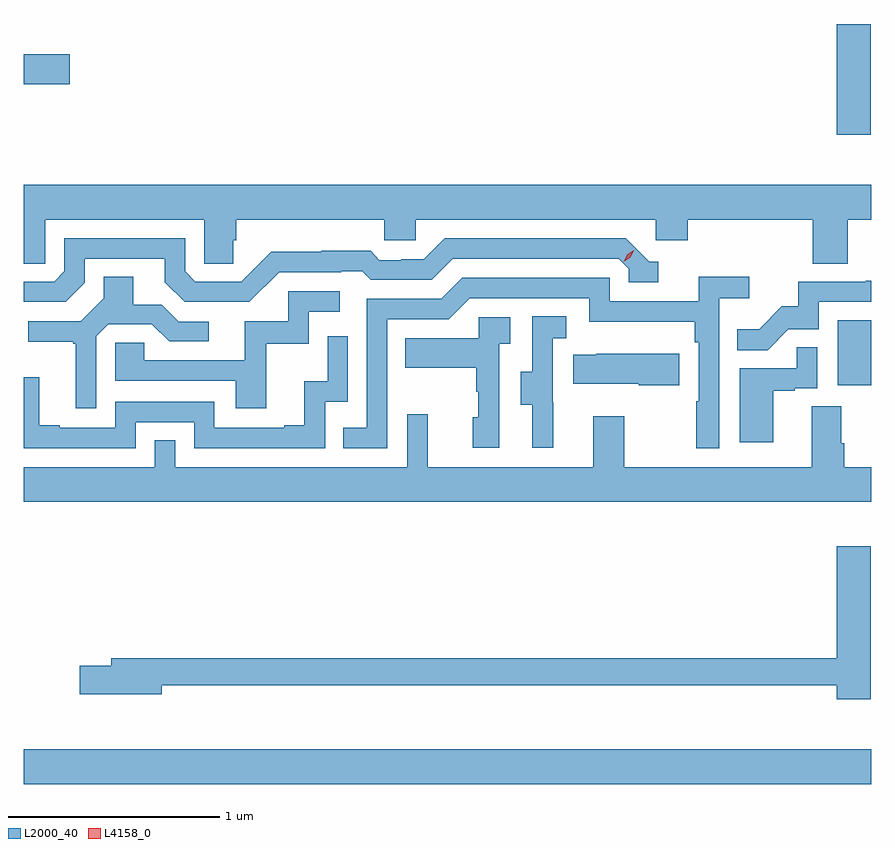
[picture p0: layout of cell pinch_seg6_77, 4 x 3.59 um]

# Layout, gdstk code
import gdstk
lib = gdstk.Library(unit=1e-6, precision=1e-09)
def R(c, l, rs):  # rectangles x0, y0, x1, y1
    for r in rs: c.add(gdstk.rectangle(r[:2], r[2:], *l))
def P(c, l, *ps):  # polygons
    for p in ps: c.add(gdstk.Polygon(p, *l))
L2000_40 = (2000, 40)
L4158_0 = (4158, 0)

pinch_seg6_77 = lib.new_cell('pinch_seg6_77')
R(pinch_seg6_77, L2000_40, [(884.574,930.02,888.574,930.184), (888.416,931.902,888.574,932.209), (888.41,933.084,888.571,933.607), (884.574,933.322,884.791,933.464)])
P(pinch_seg6_77, L2000_40, [(884.574,932.476),(884.676,932.476),(884.676,932.684),(885.426,932.684),(885.426,932.476),(885.563,932.476),(885.563,932.586),(885.578,932.586),(885.578,932.684),(886.275,932.684),(886.275,932.586),(886.425,932.586),(886.425,932.684),(887.556,932.684),(887.556,932.586),(887.708,932.586),(887.708,932.684),(888.299,932.684),(888.299,932.476),(888.464,932.476),(888.464,932.684),(888.574,932.684),(888.574,932.848),(884.574,932.848)],
  [(884.862,932.385),(884.862,932.499),(885.239,932.499),(885.239,932.389),(885.333,932.295),(885.639,932.295),(885.78,932.436),(886.073,932.436),(886.073,932.439),(886.172,932.439),(886.211,932.4),(886.5,932.4),(886.599,932.499),(887.382,932.499),(887.43,932.451),(887.43,932.388),(887.569,932.388),(887.569,932.484),(887.526,932.484),(887.415,932.595),(886.562,932.595),(886.463,932.496),(886.356,932.496),(886.356,932.493),(886.253,932.493),(886.211,932.536),(885.978,932.536),(885.978,932.533),(885.742,932.533),(885.6,932.391),(885.384,932.391),(885.336,932.439),(885.336,932.595),(884.766,932.595),(884.766,932.439),(884.718,932.391),(884.574,932.391),(884.574,932.295),(884.772,932.295)],
  [(886.29,932.214),(886.581,932.214),(886.68,932.313),(887.244,932.313),(887.244,932.201),(887.74,932.201),(887.74,932.105),(887.76,932.105),(887.76,931.826),(887.748,931.826),(887.748,931.605),(887.856,931.605),(887.856,932.312),(887.998,932.312),(887.998,932.414),(887.759,932.414),(887.759,932.298),(887.34,932.298),(887.34,932.409),(886.643,932.409),(886.544,932.31),(886.194,932.31),(886.194,931.701),(886.081,931.701),(886.081,931.605),(886.29,931.605)],
  [(884.916,932.133),(884.973,932.19),(885.179,932.19),(885.26,932.109),(885.448,932.109),(885.448,932.202),(885.306,932.202),(885.226,932.282),(885.091,932.282),(885.091,932.414),(884.951,932.414),(884.951,932.312),(884.844,932.205),(884.595,932.205),(884.595,932.108),(884.808,932.108),(884.808,932.097),(884.819,932.097),(884.819,931.794),(884.916,931.794)],
  [(888.183,932.166),(888.327,932.166),(888.327,932.295),(888.574,932.295),(888.574,932.396),(888.547,932.396),(888.547,932.391),(888.229,932.391),(888.229,932.274),(888.152,932.274),(888.045,932.167),(887.941,932.167),(887.941,932.068),(888.085,932.068)],
  [(885.719,932.097),(885.918,932.097),(885.918,932.25),(886.066,932.25),(886.066,932.346),(885.822,932.346),(885.822,932.205),(885.617,932.205),(885.617,932.019),(885.143,932.019),(885.143,932.103),(885.006,932.103),(885.006,931.923),(885.575,931.923),(885.575,931.794),(885.719,931.794)],
  [(887.072,931.821),(887.07,931.821),(887.07,932.125),(887.134,932.125),(887.134,932.228),(886.974,932.228),(886.974,931.965),(886.919,931.965),(886.919,931.81),(886.973,931.81),(886.973,931.608),(887.072,931.608)],
  [(886.818,932.099),(886.87,932.099),(886.87,932.223),(886.722,932.223),(886.722,932.125),(886.375,932.125),(886.375,931.985),(886.71,931.985),(886.71,931.871),(886.72,931.871),(886.72,931.752),(886.694,931.752),(886.694,931.608),(886.818,931.608)],
  [(885.102,931.728),(885.378,931.728),(885.378,931.605),(885.996,931.605),(885.996,931.824),(886.104,931.824),(886.104,932.134),(886.008,932.134),(886.008,931.922),(885.899,931.922),(885.899,931.714),(885.803,931.714),(885.803,931.701),(885.474,931.701),(885.474,931.824),(885.006,931.824),(885.006,931.701),(884.743,931.701),(884.743,931.714),(884.647,931.714),(884.647,931.939),(884.574,931.939),(884.574,931.605),(885.102,931.605)],
  [(888.112,931.875),(888.212,931.875),(888.212,931.887),(888.318,931.887),(888.318,932.081),(888.223,932.081),(888.223,931.983),(887.954,931.983),(887.954,931.632),(888.112,931.632)],
  [(887.668,932.05),(887.275,932.05),(887.275,932.047),(887.167,932.047),(887.167,931.91),(887.477,931.91),(887.477,931.903),(887.668,931.903)],
  [(888.574,931.516),(888.446,931.516),(888.446,931.628),(888.433,931.628),(888.433,931.802),(888.293,931.802),(888.293,931.516),(887.409,931.516),(887.409,931.756),(887.261,931.756),(887.261,931.516),(886.481,931.516),(886.481,931.765),(886.383,931.765),(886.383,931.516),(885.288,931.516),(885.288,931.643),(885.192,931.643),(885.192,931.516),(884.574,931.516),(884.574,931.352),(888.574,931.352)],
  [(888.571,931.141),(888.41,931.141),(888.41,930.614),(884.987,930.614),(884.987,930.578),(884.838,930.578),(884.838,930.443),(885.226,930.443),(885.226,930.486),(888.41,930.486),(888.41,930.42),(888.571,930.42)])
P(pinch_seg6_77, L4158_0, [(887.406,932.485),(887.406,932.485),(887.422,932.518),(887.452,932.538),(887.452,932.538),(887.452,932.537),(887.437,932.505),(887.406,932.485)])

lib.write_gds('pinch_seg6_77.gds')
